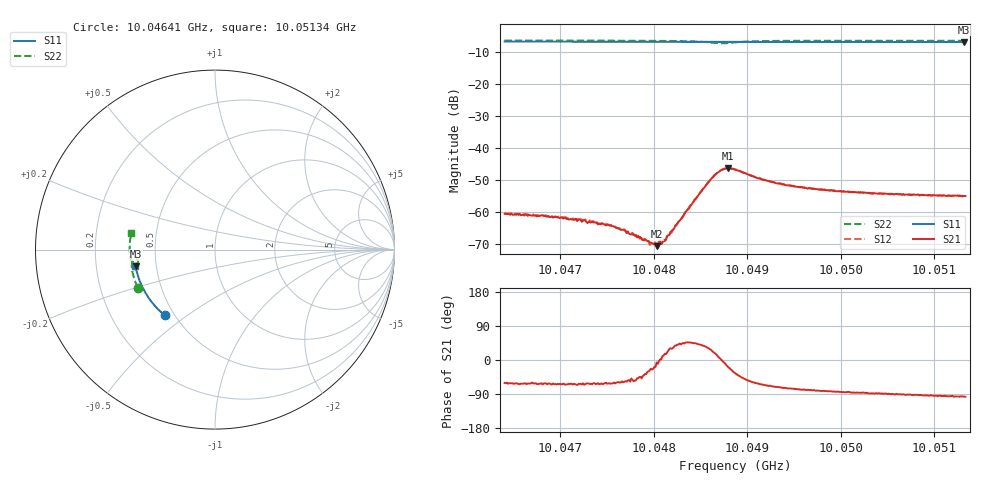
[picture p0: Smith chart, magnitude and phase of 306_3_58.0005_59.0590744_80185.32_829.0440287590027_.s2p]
#  HZ  S  RI  R  50.00
! Rohde & Schwarz Vector Network Analyzer
! Rohde-Schwarz,ZNB20-2Port,1311601062101988,3.16
! Created: UTC 3/21/2024, 1:04:00 AM
! freq[Hz]  re:S11  im:S11  re:S21  im:S21  re:S12  im:S12  re:S22  im:S22
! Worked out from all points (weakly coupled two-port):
!   401 points, 10.04641 GHz to 10.05134 GHz, reference 50 ohm
!   highest |S21| = -46.27 dB at 10.0488 GHz (marker M1); lowest = -70.5 dB at 10.04803 GHz (marker M2)
!   lowest |S11| = -6.9 dB at 10.05132 GHz (marker M3), VSWR 2.65, Z = 19 - j4.46 ohm
!   |S11| at or under -10 dB: nowhere
!   |S22| runs from -7.3 to -6.4 dB; largest |S21 - S12| = 0.00036
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1.0046406e10  -0.2809 -0.3658  0.00047 -0.000829  0.000535 -0.00081  -0.431 -0.2113
1.0046813e10  -0.3011 -0.3482  0.000387 -0.000811  0.000491 -0.000743  -0.4416 -0.186
1.0047232e10  -0.3209 -0.3287  0.000309 -0.000644  0.000376 -0.000655  -0.451 -0.1589
1.0047564e10  -0.3358 -0.3125  0.000291 -0.000536  0.000343 -0.000517  -0.4574 -0.1366
1.0047798e10  -0.3459 -0.3006  0.000254 -0.00035  0.00028 -0.000349  -0.4609 -0.1199
1.0047983e10  -0.3534 -0.2912  0.000299 -0.000142  0.000311 -0.000108  -0.4628 -0.1061
1.0048033e10  -0.3554 -0.2886  0.000295 -3.39e-05  0.000313 -3.62e-05  -0.4633 -0.1022
1.0048057e10  -0.3563 -0.2873  0.000339 -1.73e-05  0.000319 -9.68e-06  -0.4634 -0.1001
1.0048107e10  -0.3582 -0.2847  0.00037 7.56e-05  0.000359 0.000105  -0.4638 -0.0962
1.0048193e10  -0.3617 -0.2801  0.000444 0.000252  0.000397 0.000275  -0.4638 -0.0891
1.0048415e10  -0.3702 -0.268  0.000968 0.000979  0.000924 0.00106  -0.4595 -0.0685
1.0048624e10  -0.3775 -0.2566  0.00313 0.0014  0.00305 0.00158  -0.44 -0.0541
1.004871e10  -0.3803 -0.2519  0.00441 0.000334  0.0044 0.000603  -0.4297 -0.0607
1.0048797e10  -0.3833 -0.2472  0.00461 -0.00153  0.00476 -0.00126  -0.4311 -0.0733
1.0048871e10  -0.3858 -0.2431  0.00383 -0.00264  0.00402 -0.00243  -0.4406 -0.0782
1.0049253e10  -0.3983 -0.2212  0.0011 -0.0028  0.00127 -0.00279  -0.4693 -0.0511
1.0049536e10  -0.4067 -0.2045  0.00055 -0.00243  0.000737 -0.00241  -0.4738 -0.0282
1.0049696e10  -0.411 -0.1949  0.000407 -0.00229  0.000551 -0.00232  -0.4749 -0.0163
1.0050041e10  -0.4197 -0.174  0.000196 -0.00209  0.000336 -0.00209  -0.4756 0.00849
1.0050522e10  -0.4302 -0.1442  1.4e-05 -0.00191  0.000131 -0.00196  -0.4739 0.0415
1.0051323e10  -0.4427 -0.0933  -0.00021 -0.00179  -0.000112 -0.00179  -0.4657 0.0944
1.0051335e10  -0.443 -0.0926  -0.000215 -0.00179  -0.000126 -0.0018  -0.4656 0.0952
